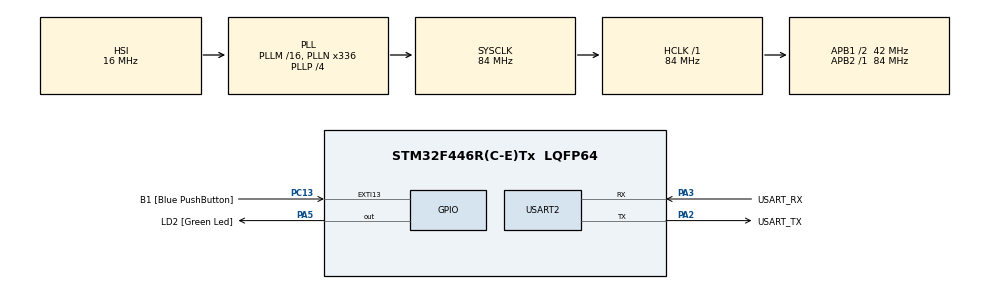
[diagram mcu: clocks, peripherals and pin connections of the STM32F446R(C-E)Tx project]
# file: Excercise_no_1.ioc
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Mcu.Family=STM32F4
PC15-OSC32_OUT.Mode=LSE-External-Oscillator
VP_SYS_VS_tim6.Mode=TIM6
PH0-OSC_IN.Signal=RCC_OSC_IN
RCC.CortexFreq_Value=84000000
NVIC.TIM6_DAC_IRQn=true\:0\:0\:false\:false\:true\:false\:true
PC13.Signal=GPXTI13
PA14.GPIO_Label=TCK
PC13.GPIO_Label=B1 [Blue PushButton]
RCC.APB1CLKDivider=RCC_HCLK_DIV2
PC14-OSC32_IN.Signal=RCC_OSC32_IN
RCC.SYSCLKSource=RCC_SYSCLKSOURCE_PLLCLK
ProjectManager.StackSize=0x400
PA13.Signal=SYS_JTMS-SWDIO
PA3.Mode=Asynchronous
ProjectManager.TargetToolchain=STM32CubeIDE
RCC.HCLKFreq_Value=84000000
RCC.APB2TimFreq_Value=84000000
RCC.USBFreq_Value=168000000
PC15-OSC32_OUT.Signal=RCC_OSC32_OUT
RCC.AHBFreq_Value=84000000
PH0-OSC_IN.Mode=HSE-External-Oscillator
PA5.Signal=GPIO_Output
RCC.HSE_VALUE=8000000
board=NUCLEO-F446RE
RCC.VCOOutputFreq_Value=336000000
RCC.APB2Freq_Value=84000000
PC14-OSC32_IN.Mode=LSE-External-Oscillator
PH1-OSC_OUT.Signal=RCC_OSC_OUT
Mcu.Name=STM32F446R(C-E)Tx
PA2.Signal=USART2_TX
PA13.GPIO_Label=TMS
RCC.FLatency-AdvancedSettings=FLASH_LATENCY_2
PH1-OSC_OUT.Mode=HSE-External-Oscillator
RCC.48MHZClocksFreq_Value=84000000
PB3.Signal=SYS_JTDO-SWO
RCC.SYSCLKFreq_VALUE=84000000
Mcu.Package=LQFP64
NVIC.TimeBase=TIM6_DAC_IRQn
PA5.GPIO_Label=LD2 [Green Led]
PC13.GPIO_ModeDefaultEXTI=GPIO_MODE_IT_FALLING
USART2.VirtualMode=VM_ASYNC
PA2.GPIO_Label=USART_TX
NVIC.TimeBaseIP=TIM6
PA14.Signal=SYS_JTCK-SWCLK
ProjectManager.HeapSize=0x200
RCC.HSI_VALUE=16000000
RCC.PLLP=RCC_PLLP_DIV4
NVIC.PriorityGroup=NVIC_PRIORITYGROUP_0
RCC.PLLN=336
RCC.APB1TimFreq_Value=84000000
PA2.Mode=Asynchronous
RCC.APB1Freq_Value=42000000
PA3.GPIO_Label=USART_RX
PA3.Signal=USART2_RX
PB3.GPIO_Label=SWO

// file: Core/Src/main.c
/* USER CODE BEGIN Header */
/**
  ******************************************************************************
  * @file           : main.c
  * @brief          : Main program body
  ******************************************************************************
  * @attention
  *
  * <h2><center>&copy; Copyright (c) 2021 STMicroelectronics.
  * All rights reserved.</center></h2>
  *
  * This software component is licensed by ST under BSD 3-Clause license,
  * the "License"; You may not use this file except in compliance with the
  * License. You may obtain a copy of the License at:
  *                        opensource.org/licenses/BSD-3-Clause
  *
  ******************************************************************************
  */
/* USER CODE END Header */
#include "main.h"

/* USER CODE BEGIN Includes */
#include"FreeRTOS.h"
#include"task.h"

/* USER CODE END Includes */

UART_HandleTypeDef huart2;

/* USER CODE BEGIN PV */

volatile TaskHandle_t next_task_handle = NULL;
TaskHandle_t Task_2_Handle = NULL;
/* USER CODE END PV */

void SystemClock_Config(void);
static void MX_GPIO_Init(void);
static void MX_USART2_UART_Init(void);
/* USER CODE BEGIN PFP */
void Task1Handlefxn(void* pv_param);
void Task2_Button_Handlefxn(void* pv_param);
/* USER CODE END PFP */

int main(void)
{
  /* USER CODE BEGIN 1 */

	TaskHandle_t Task_1_Handle;
	BaseType_t Task_status;
  /* USER CODE END 1 */

  /* MCU Configuration--------------------------------------------------------*/

  /* Reset of all peripherals, Initializes the Flash interface and the Systick. */
  HAL_Init();

  /* Configure the system clock */
  SystemClock_Config();

  /* Initialize all configured peripherals */
  MX_GPIO_Init();
  MX_USART2_UART_Init();
  /* USER CODE BEGIN 2 */
	Task_status = xTaskCreate(Task1Handlefxn, "Task_1", 200,	"Hello world from  the task 1", 2, &Task_1_Handle);

	configASSERT(Task_status);

	next_task_handle = Task_1_Handle;

	Task_status = xTaskCreate(Task2_Button_Handlefxn, "Task_2", 200,"Hello World From the Task 2", 4, &Task_2_Handle);

	configASSERT(Task_status);

	vTaskStartScheduler();

  /* USER CODE END 2 */

  /* Infinite loop */
  while (1)
  {

  }
}

void SystemClock_Config(void)
{
  RCC_OscInitTypeDef RCC_OscInitStruct = {0};
  RCC_ClkInitTypeDef RCC_ClkInitStruct = {0};

  /** Configure the main internal regulator output voltage
  */
  __HAL_RCC_PWR_CLK_ENABLE();
  __HAL_PWR_VOLTAGESCALING_CONFIG(PWR_REGULATOR_VOLTAGE_SCALE3);
  /** Initializes the RCC Oscillators according to the specified parameters
  * in the RCC_OscInitTypeDef structure.
  */
  RCC_OscInitStruct.OscillatorType = RCC_OSCILLATORTYPE_HSI;
  RCC_OscInitStruct.HSIState = RCC_HSI_ON;
  RCC_OscInitStruct.HSICalibrationValue = RCC_HSICALIBRATION_DEFAULT;
  RCC_OscInitStruct.PLL.PLLState = RCC_PLL_ON;
  RCC_OscInitStruct.PLL.PLLSource = RCC_PLLSOURCE_HSI;
  RCC_OscInitStruct.PLL.PLLM = 16;
  RCC_OscInitStruct.PLL.PLLN = 336;
  RCC_OscInitStruct.PLL.PLLP = RCC_PLLP_DIV4;
  RCC_OscInitStruct.PLL.PLLQ = 2;
  RCC_OscInitStruct.PLL.PLLR = 2;
  if (HAL_RCC_OscConfig(&RCC_OscInitStruct) != HAL_OK)
  {
    Error_Handler();
  }
  /** Initializes the CPU, AHB and APB buses clocks
  */
  RCC_ClkInitStruct.ClockType = RCC_CLOCKTYPE_HCLK|RCC_CLOCKTYPE_SYSCLK
                              |RCC_CLOCKTYPE_PCLK1|RCC_CLOCKTYPE_PCLK2;
  RCC_ClkInitStruct.SYSCLKSource = RCC_SYSCLKSOURCE_PLLCLK;
  RCC_ClkInitStruct.AHBCLKDivider = RCC_SYSCLK_DIV1;
  RCC_ClkInitStruct.APB1CLKDivider = RCC_HCLK_DIV2;
  RCC_ClkInitStruct.APB2CLKDivider = RCC_HCLK_DIV1;

  if (HAL_RCC_ClockConfig(&RCC_ClkInitStruct, FLASH_LATENCY_2) != HAL_OK)
  {
    Error_Handler();
  }
}

static void MX_USART2_UART_Init(void)
{

  huart2.Instance = USART2;
  huart2.Init.BaudRate = 115200;
  huart2.Init.WordLength = UART_WORDLENGTH_8B;
  huart2.Init.StopBits = UART_STOPBITS_1;
  huart2.Init.Parity = UART_PARITY_NONE;
  huart2.Init.Mode = UART_MODE_TX_RX;
  huart2.Init.HwFlowCtl = UART_HWCONTROL_NONE;
  huart2.Init.OverSampling = UART_OVERSAMPLING_16;
  if (HAL_UART_Init(&huart2) != HAL_OK)
  {
    Error_Handler();
  }

}

static void MX_GPIO_Init(void)
{
  GPIO_InitTypeDef GPIO_InitStruct = {0};

  /* GPIO Ports Clock Enable */
  __HAL_RCC_GPIOC_CLK_ENABLE();
  __HAL_RCC_GPIOH_CLK_ENABLE();
  __HAL_RCC_GPIOA_CLK_ENABLE();
  __HAL_RCC_GPIOB_CLK_ENABLE();

  /*Configure GPIO pin Output Level */
  HAL_GPIO_WritePin(LD2_GPIO_Port, LD2_Pin, GPIO_PIN_RESET);

  /*Configure GPIO pin : B1_Pin */
  GPIO_InitStruct.Pin = B1_Pin;
  GPIO_InitStruct.Mode = GPIO_MODE_IT_FALLING;
  GPIO_InitStruct.Pull = GPIO_NOPULL;
  HAL_GPIO_Init(B1_GPIO_Port, &GPIO_InitStruct);

  /*Configure GPIO pin : LD2_Pin */
  GPIO_InitStruct.Pin = LD2_Pin;
  GPIO_InitStruct.Mode = GPIO_MODE_OUTPUT_PP;
  GPIO_InitStruct.Pull = GPIO_NOPULL;
  GPIO_InitStruct.Speed = GPIO_SPEED_FREQ_LOW;
  HAL_GPIO_Init(LD2_GPIO_Port, &GPIO_InitStruct);

}

/* USER CODE BEGIN 4 */

void Task1Handlefxn(void* pv_param)
{
	BaseType_t status;
	while(1)
	{
		HAL_GPIO_TogglePin(GPIOA, LD2_Pin);
		status = xTaskNotifyWait(0,0,NULL,pdMS_TO_TICKS(1000));

		if(status == pdTRUE)
		{
			vTaskSuspendAll();
			next_task_handle = NULL;
			xTaskResumeAll();
			HAL_GPIO_WritePin(GPIOA, LD2_Pin,GPIO_PIN_SET);
			vTaskDelete(NULL);
			vTaskDelete(Task_2_Handle);

		}
	}

}

void Task2_Button_Handlefxn(void* pv_param)
{
	uint8_t read_button;
	uint8_t prv_state;

	printf("This is the button task handler callback function\n");

	while(1)
	{
		read_button = HAL_GPIO_ReadPin(B1_GPIO_Port, B1_Pin);
		if(read_button)
		{
			if(!prv_state)
			{
				xTaskNotify(next_task_handle,0,eNoAction);
			}
		}

		prv_state = read_button;
		vTaskDelay(pdMS_TO_TICKS(10));

	}

}

/* USER CODE END 4 */

 /**
  * @brief  Period elapsed callback in non blocking mode
  * @note   This function is called  when TIM6 interrupt took place, inside
  * HAL_TIM_IRQHandler(). It makes a direct call to HAL_IncTick() to increment
  * a global variable "uwTick" used as application time base.
  * @param  htim : TIM handle
  * @retval None
  */
void HAL_TIM_PeriodElapsedCallback(TIM_HandleTypeDef *htim)
{
  if (htim->Instance == TIM6) {
    HAL_IncTick();
  }
}

void Error_Handler(void)
{
  __disable_irq();
  while (1)
  {
  }
}

/************************ (C) COPYRIGHT STMicroelectronics *****END OF FILE****/
